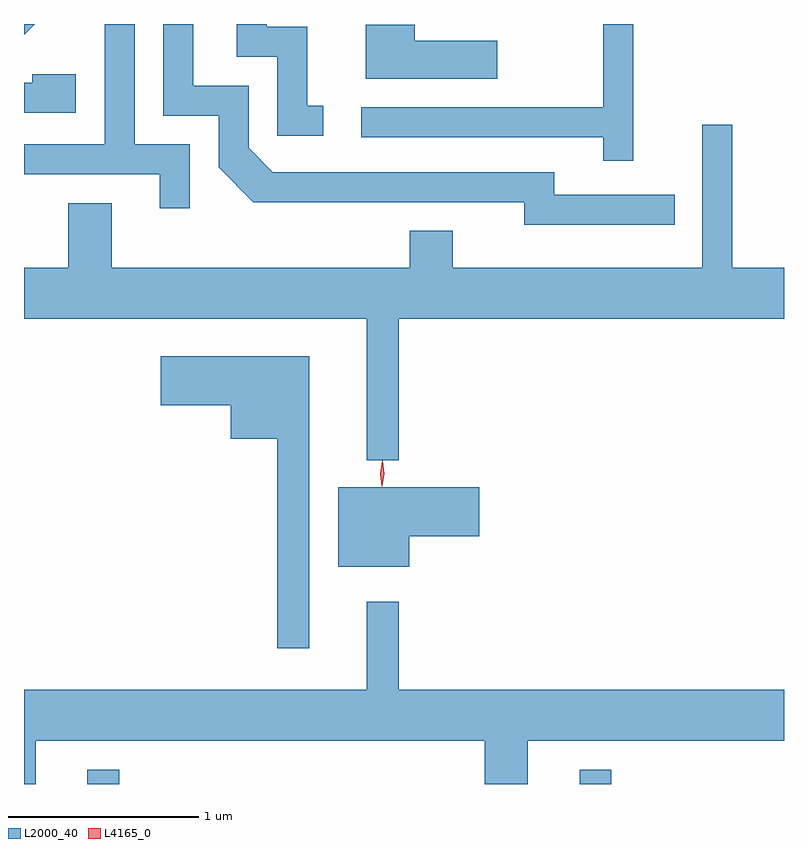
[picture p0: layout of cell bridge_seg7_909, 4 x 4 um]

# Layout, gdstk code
import gdstk
lib = gdstk.Library(unit=1e-6, precision=1e-09)
def R(c, l, rs):  # rectangles x0, y0, x1, y1
    for r in rs: c.add(gdstk.rectangle(r[:2], r[2:], *l))
def P(c, l, *ps):  # polygons
    for p in ps: c.add(gdstk.Polygon(p, *l))
L2000_40 = (2000, 40)
L4165_0 = (4165, 0)

bridge_seg7_909 = lib.new_cell('bridge_seg7_909')
R(bridge_seg7_909, L2000_40, [(537.921,1685.228,538.089,1685.303), (540.511,1685.228,540.679,1685.303)])
P(bridge_seg7_909, L2000_40, [(537.644,1689.228),(537.587,1689.228),(537.587,1689.171)],
  [(538.459,1688.594),(538.169,1688.594),(538.169,1689.228),(538.011,1689.228),(538.011,1688.594),(537.587,1688.594),(537.587,1688.436),(538.301,1688.436),(538.301,1688.258),(538.459,1688.258)],
  [(539.163,1688.799),(539.079,1688.799),(539.079,1689.214),(538.864,1689.214),(538.864,1689.228),(538.706,1689.228),(538.706,1689.056),(538.921,1689.056),(538.921,1688.641),(539.163,1688.641)],
  [(540.794,1689.228),(540.636,1689.228),(540.636,1688.789),(539.363,1688.789),(539.363,1688.631),(540.636,1688.631),(540.636,1688.508),(540.794,1688.508)],
  [(541.013,1688.329),(540.379,1688.329),(540.379,1688.449),(538.897,1688.449),(538.769,1688.577),(538.769,1688.904),(538.479,1688.904),(538.479,1689.228),(538.321,1689.228),(538.321,1688.746),(538.611,1688.746),(538.611,1688.474),(538.794,1688.291),(540.221,1688.291),(540.221,1688.171),(541.013,1688.171)],
  [(540.079,1689.139),(539.644,1689.139),(539.644,1689.224),(539.386,1689.224),(539.386,1688.941),(540.079,1688.941)],
  [(537.859,1688.964),(537.631,1688.964),(537.631,1688.919),(537.587,1688.919),(537.587,1688.761),(537.859,1688.761)],
  [(539.559,1687.676),(541.587,1687.676),(541.587,1687.944),(541.314,1687.944),(541.314,1688.698),(541.156,1688.698),(541.156,1687.944),(539.844,1687.944),(539.844,1688.139),(539.616,1688.139),(539.616,1687.944),(538.049,1687.944),(538.049,1688.284),(537.821,1688.284),(537.821,1687.944),(537.587,1687.944),(537.587,1687.676),(539.391,1687.676),(539.391,1686.933),(539.559,1686.933)],
  [(539.089,1687.479),(538.306,1687.479),(538.306,1687.221),(538.676,1687.221),(538.676,1687.046),(538.921,1687.046),(538.921,1685.943),(539.089,1685.943)],
  [(539.614,1686.531),(539.984,1686.531),(539.984,1686.789),(539.241,1686.789),(539.241,1686.371),(539.614,1686.371)],
  [(537.649,1685.456),(540.011,1685.456),(540.011,1685.228),(540.239,1685.228),(540.239,1685.456),(541.587,1685.456),(541.587,1685.724),(539.559,1685.724),(539.559,1686.188),(539.391,1686.188),(539.391,1685.724),(537.587,1685.724),(537.587,1685.228),(537.649,1685.228)])
P(bridge_seg7_909, L4165_0, [(539.471,1686.8),(539.47,1686.801),(539.462,1686.864),(539.472,1686.926),(539.473,1686.927),(539.474,1686.926),(539.482,1686.863),(539.471,1686.801)],
  [(539.471,1686.794),(539.471,1686.794),(539.462,1686.862),(539.472,1686.93),(539.473,1686.93),(539.474,1686.93),(539.482,1686.862),(539.472,1686.794)])

lib.write_gds('bridge_seg7_909.gds')
